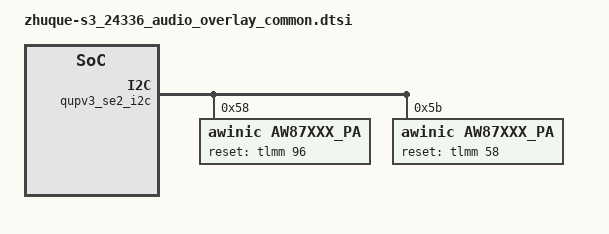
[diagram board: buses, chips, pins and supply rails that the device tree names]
&waipio_snd {
	oplus,mbhc-check-cross-conn = <1>;
	oplus,mbhc-headset-detect-mode = <0>;
	qcom,msm-mbhc-usbc-audio-supported = <0>;

	// enable HS_G usbc detect
	hs-g-usbc-det-support = <1>;

	// add for HS-G to CC test
	pinctrl-names = "default";
	pinctrl-0 = <&usbc_insert>;
	hs-g-gpio = <&tlmm 43 0>;
};

&tlmm {
	usbc_insert: usbc_insert {
		mux {
			pins = "gpio43";
			function = "gpio";
		};

		config {
			pins = "gpio43";
			drive-strength = <2>;
			bias-pull-down;
			qcom,apps;
		};
	};
};

&qupv3_se2_i2c {
	status = "ok";
	qcom,clk-freq-out = <400000>;

	aw87xxx_pa@58 {
		compatible = "awinic,aw87xxx_pa";
		reg = <0x58>;
		reset-gpio = <&tlmm 96 0>;
		dev_index = < 1 >;
		aw-rx-topo-id = <0x1000ff00>;
		aw-rx-port-id = <0xB030>;
		status = "okay";
	};

	aw87xxx_pa@5b {
		compatible = "awinic,aw87xxx_pa";
		reg = <0x5b>;
		reset-gpio = <&tlmm 58 0>;
		dev_index = < 0 >;
		aw-rx-topo-id = <0x1000ff00>;
		aw-rx-port-id = <0xB030>;
		status = "okay";
	};
};

